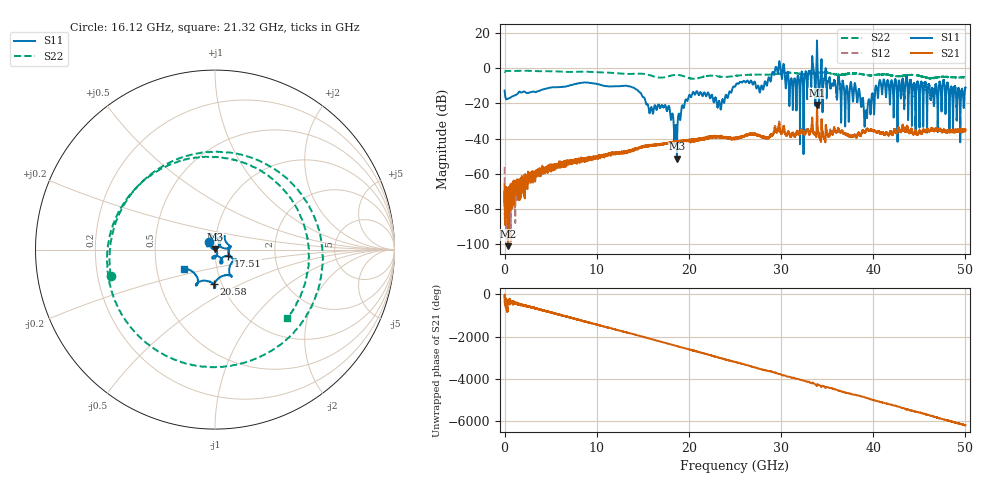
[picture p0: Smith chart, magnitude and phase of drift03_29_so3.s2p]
!Created with skrf (http://scikit-rf.org).
# Hz S RI R 50.0
!freq ReS11 ImS11 ReS21 ImS21 ReS12 ImS12 ReS22 ImS22
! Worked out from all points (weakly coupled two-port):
!   10001 points, 300 kHz to 50 GHz, reference 50 ohm
!   highest |S21| = -20.76 dB at 33.9 GHz (marker M1); lowest = -101.4 dB at 385.3 MHz (marker M2)
!   lowest |S11| = -51.4 dB at 18.7 GHz (marker M3), VSWR 1.01, Z = 50 + j0.268 ohm
!   |S11| at or under -10 dB: start of sweep to 6.944 GHz; 13.32 GHz to 25.04 GHz (11.73 GHz wide, 61.1 % of centre); 38.08 GHz to 40.27 GHz (2.189 GHz wide, 5.59 % of centre) (the widest 3 of 57)
!   |S22| runs from -5.9 to -1.3 dB; largest |S21 - S12| = 0.01
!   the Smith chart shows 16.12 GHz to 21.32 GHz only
!   S11 on the Smith chart (normalised r, x): 16.12 GHz: 0.94, +0.08; 17.51 GHz: 1.15, -0.08; 20.58 GHz: 0.92, -0.37; 21.32 GHz: 0.69, -0.16
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300000  -0.2116 -0.0988  -0.000439 -0.000235  0.0015 0.000427  -0.7683 -0.1817
3.852977e8  -0.0953 0.0997  -4.7e-07 -8.52e-06  8.6e-05 0.000152  -0.6011 0.5965
1.540291e9  0.2062 0.0411  -0.000163 -0.00042  5.05e-05 -0.00042  0.8497 0.0689
3.160281e9  -0.2188 -0.00847  -3.25e-05 0.00096  3.91e-05 0.000761  -0.8444 -0.0249
4.665272e9  0.2637 0.061  8.31e-05 -0.0013  4.15e-05 -0.00117  0.8187 0.1424
6.360262e9  -0.2999 0.00038  0.000399 0.00165  0.000693 0.00167  -0.8048 -0.0422
8.33525e9  0.2842 -0.2681  -0.00212 -0.00097  -0.00232 -0.000712  0.6017 -0.5355
9.575243e9  -0.3719 -0.0483  0.00147 0.00251  0.0014 0.00233  -0.786 -0.0947
1.124523e10  0.306 0.0227  -0.00234 -0.00271  -0.00229 -0.00262  0.7575 0.0204
1.61202e10  -0.0307 0.0428  0.00608 0.00208  0.00632 0.00189  -0.5817 -0.145
1.66702e10  0.0538 0.0761  0.00433 -0.0049  0.00467 -0.0048  -0.3586 0.4192
1.751019e10  0.0715 -0.0348  -0.00606 -0.00421  -0.00592 -0.00397  0.4841 0.3045
1.869519e10  0.000223 0.00267  0.00243 0.00775  0.0024 0.00782  -0.0872 -0.649
2.057518e10  -0.00592 -0.193  -0.00768 -0.00407  -0.00787 -0.00408  0.3745 0.342
2.131517e10  -0.1723 -0.1079  -0.00519 0.0077  -0.00566 0.00837  0.3988 -0.3833
2.500015e10  -0.2971 -0.0483  0.0078 0.00623  0.00755 0.00638  -0.1853 -0.582
3.051012e10  0.2479 -0.1051  -0.00245 0.0127  -0.00256 0.0126  0.7414 -0.0595
3.213011e10  0.2049 0.3687  -0.000135 -0.0153  -0.000448 -0.0151  -0.6925 0.00751
3.33351e10  0.445 -0.9793  -0.00538 0.0228  -0.0049 0.0246  0.6123 0.3678
3.38951e10  -0.9898 -6.196  0.0909 0.0112  0.0828 0.00474  0.6747 -0.3222
4.167005e10  -0.217 0.2856  -0.0113 -0.00429  -0.0114 -0.00475  -0.6534 -0.0532
5e10  -0.1453 -0.2499  0.00194 -0.0179  0.00164 -0.0172  0.4695 -0.3159
